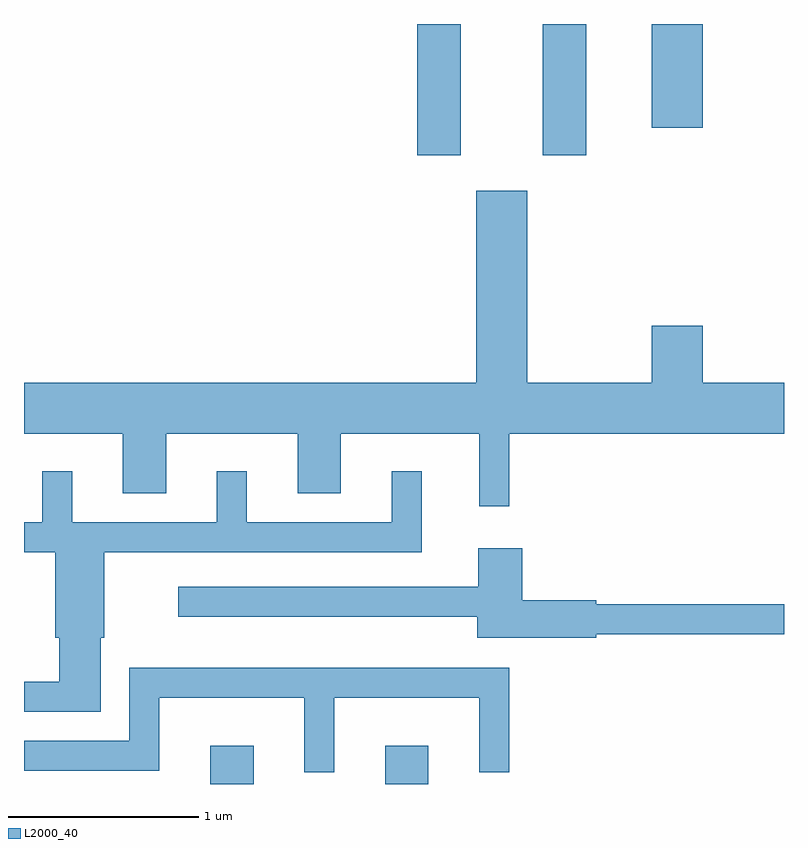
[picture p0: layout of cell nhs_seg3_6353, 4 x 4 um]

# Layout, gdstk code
import gdstk
lib = gdstk.Library(unit=1e-6, precision=1e-09)
def R(c, l, rs):  # rectangles x0, y0, x1, y1
    for r in rs: c.add(gdstk.rectangle(r[:2], r[2:], *l))
def P(c, l, *ps):  # polygons
    for p in ps: c.add(gdstk.Polygon(p, *l))
L2000_40 = (2000, 40)

nhs_seg3_6353 = lib.new_cell('nhs_seg3_6353')
R(nhs_seg3_6353, L2000_40, [(372.591,1181.892,372.819,1182.094), (373.511,1181.892,373.739,1182.094), (373.681,1185.201,373.909,1185.892), (374.341,1185.201,374.569,1185.892), (374.916,1185.346,375.184,1185.892)])
P(nhs_seg3_6353, L2000_40, [(374.164,1183.736),(375.611,1183.736),(375.611,1184.004),(375.184,1184.004),(375.184,1184.304),(374.916,1184.304),(374.916,1184.004),(374.259,1184.004),(374.259,1185.014),(373.991,1185.014),(373.991,1184.004),(371.611,1184.004),(371.611,1183.736),(372.131,1183.736),(372.131,1183.421),(372.359,1183.421),(372.359,1183.736),(373.051,1183.736),(373.051,1183.421),(373.279,1183.421),(373.279,1183.736),(374.006,1183.736),(374.006,1183.353),(374.164,1183.353)],
  [(372.014,1182.661),(372.034,1182.661),(372.034,1183.111),(373.704,1183.111),(373.704,1183.538),(373.546,1183.538),(373.546,1183.269),(372.784,1183.269),(372.784,1183.538),(372.626,1183.538),(372.626,1183.269),(371.864,1183.269),(371.864,1183.538),(371.706,1183.538),(371.706,1183.269),(371.611,1183.269),(371.611,1183.111),(371.776,1183.111),(371.776,1182.661),(371.796,1182.661),(371.796,1182.429),(371.611,1182.429),(371.611,1182.271),(372.014,1182.271)],
  [(374.624,1182.681),(375.611,1182.681),(375.611,1182.839),(374.624,1182.839),(374.624,1182.859),(374.234,1182.859),(374.234,1183.134),(374.001,1183.134),(374.001,1182.929),(372.423,1182.929),(372.423,1182.771),(373.996,1182.771),(373.996,1182.661),(374.624,1182.661)],
  [(373.244,1182.346),(374.006,1182.346),(374.006,1181.953),(374.164,1181.953),(374.164,1182.504),(372.166,1182.504),(372.166,1182.119),(371.611,1182.119),(371.611,1181.961),(372.324,1181.961),(372.324,1182.346),(373.086,1182.346),(373.086,1181.953),(373.244,1181.953)])

lib.write_gds('nhs_seg3_6353.gds')
